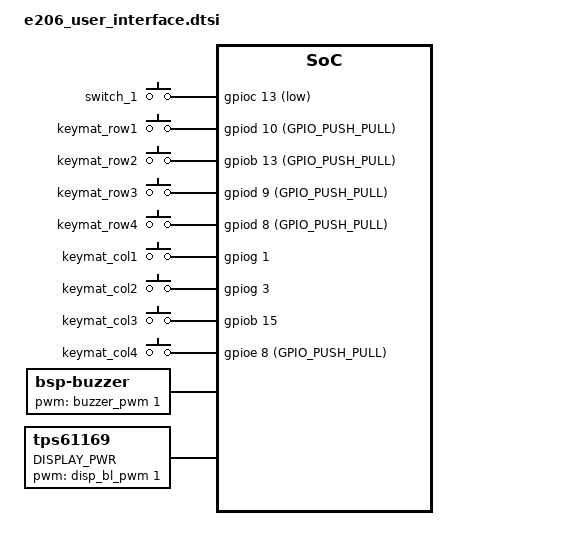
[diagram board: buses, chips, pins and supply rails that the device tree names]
/*
 * Copyright (c) 2023 Acme CPU
 *
 */

/*
	Note:
	All of the switches cannot have an interrupt because of limited number of EXTI IRQn of STM32H7
	see reference manual section 15.4:
		the Pn0 are grouped to EXTI0, similarly Pn1 are grouped to EXTI1 and so on.
		That means if PD6 is configured are an EXTI6 interrupt, we cannot configure PA6 as
		that EXTI line is already used and we will bet a -EBUSY (-16) error number
		
	A solution to this will be to have EXTI on one switch, i.e. power and others should be polled
*/

/ {
	keypad_matrix {
		compatible = "gpio-keys";
			
	    switch_1: switch_1 {
	      gpios = <&gpioc 13 (GPIO_PULL_UP | GPIO_ACTIVE_LOW)>;
	      /*label = "POWER";*/
	    };
	
	    keymat_row1: keymat_row1 {
	      gpios = <&gpiod 10 (GPIO_PUSH_PULL)>;
	      /*label = "KM_ROW1";*/
	    };
	
	    keymat_row2: keymat_row2 {
	      gpios = <&gpiob 13 (GPIO_PUSH_PULL)>;
	      /*label = "KM_ROW2";*/
	    };
	
	    keymat_row3: keymat_row3 {
	      gpios = <&gpiod 9 (GPIO_PUSH_PULL)>;
	      /*label = "KM_ROW3";*/
	    };
	
	    keymat_row4: keymat_row4 {
	      gpios = <&gpiod 8 (GPIO_PUSH_PULL)>;
	      /*label = "KM_ROW3";*/
	    };
	
	    keymat_col1: keymat_col1 {
	      gpios = <&gpiog 1 (GPIO_PULL_DOWN)>;
	      /*label = "KM_COL1";*/
	    };
	
	    keymat_col2: keymat_col2 {
	      gpios = <&gpiog 3 (GPIO_PULL_DOWN)>;
	      /*label = "KM_COL2";*/
	    };
	
	    keymat_col3: keymat_col3 {
	      gpios = <&gpiob 15 (GPIO_PULL_DOWN)>;
	      /*label = "KM_COL3";*/
	    };

	    keymat_col4: keymat_col4 {
	      gpios = <&gpioe 8 (GPIO_PUSH_PULL)>;
	      /*label = "KM_COL4";*/
	    };
	};
	
	buzz: buzzer {
		compatible = "bsp-buzzer";
		status = "okay";
		
		pwms =  <&buzzer_pwm 1 250 PWM_POLARITY_NORMAL>;	/* period given in micro seconds for 4kHz freq buzzer */
		pwm-names = "buzzer-ctrl";

		label = "BUZZER";
	};
	
	display_pwr: display_pwr {
		compatible = "tps61169";
		status = "okay";
		
		pwms =  <&disp_bl_pwm 1 200 PWM_POLARITY_NORMAL>;	/* period given in micro seconds for 5kHz signal */
		pwm-names = "disp-brightness";

		label = "DISPLAY_PWR";
	};
};
